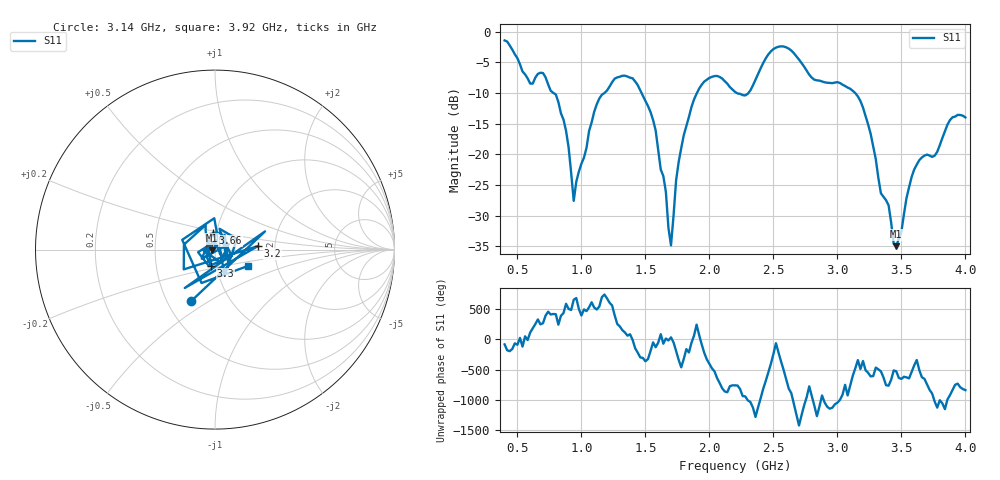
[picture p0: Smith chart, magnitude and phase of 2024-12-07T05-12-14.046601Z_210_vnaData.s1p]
!Created with skrf (http://scikit-rf.org).
# Hz S RI R 50.0
!freq ReS11 ImS11
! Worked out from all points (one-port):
!   181 points, 400 MHz to 4 GHz, reference 50 ohm
!   lowest |S11| = -35.0 dB at 3.46 GHz (marker M1), VSWR 1.04, Z = 48.3 - j0.452 ohm
!   |S11| at or under -10 dB: 782.1 MHz to 1.18 GHz (397.8 MHz wide, 40.5 % of centre); 1.47 GHz to 1.903 GHz (432.8 MHz wide, 25.7 % of centre); 3.139 GHz to end of sweep (the widest 3 of 4)
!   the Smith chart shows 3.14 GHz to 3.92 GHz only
!   S11 on the Smith chart (normalised r, x): 3.14 GHz: 0.66, -0.42; 3.2 GHz: 1.63, +0.07; 3.3 GHz: 0.94, -0.17; 3.66 GHz: 0.96, +0.18; 3.92 GHz: 1.41, -0.27
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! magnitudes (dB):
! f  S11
! 400 MHz  -1.4
! 600 MHz  -8.5
! 700 MHz  -6.7
! 860 MHz  -14.3
! 940 MHz  -27.6
! 1.12 GHz  -11.8
! 1.3 GHz  -7.3
! 1.42 GHz  -8.1
! 1.56 GHz  -14.4
! 1.66 GHz  -26.1
! 1.7 GHz  -34.8
! 1.76 GHz  -21.2
! 1.94 GHz  -8.6
! 2.2 GHz  -9.8
! 2.3 GHz  -10.1
! 2.5 GHz  -2.8
! 2.66 GHz  -3.5
! 2.82 GHz  -7.8
! 3.1 GHz  -9.3
! 3.14 GHz  -10.0
! 3.2 GHz  -12.4
! 3.3 GHz  -20.8
! 3.46 GHz  -35.0
! 3.56 GHz  -25.3
! 3.66 GHz  -20.5
! 3.76 GHz  -20.2
! 3.92 GHz  -13.8
! 4 GHz  -14.0
